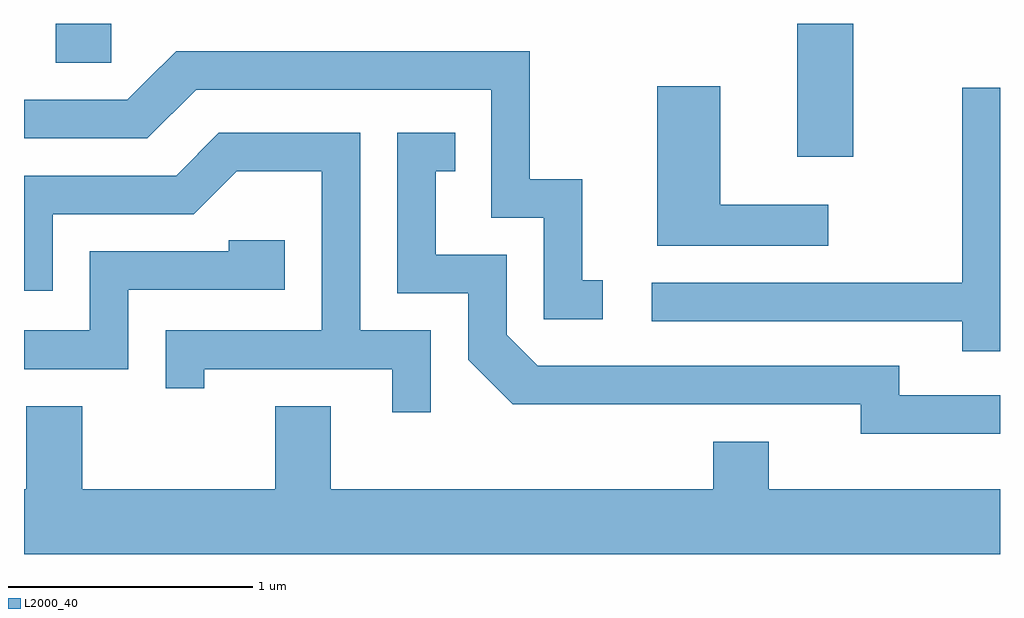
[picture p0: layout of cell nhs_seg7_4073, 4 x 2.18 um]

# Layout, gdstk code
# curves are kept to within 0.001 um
import gdstk
lib = gdstk.Library(unit=1e-6, precision=1e-09)
def R(c, l, rs):  # rectangles x0, y0, x1, y1
    for r in rs: c.add(gdstk.rectangle(r[:2], r[2:], *l))
def P(c, l, *ps):  # polygons
    for p in ps: c.add(gdstk.Polygon(p, *l))
L2000_40 = (2000, 40)

nhs_seg7_4073 = lib.new_cell('nhs_seg7_4073')
R(nhs_seg7_4073, L2000_40, [(312.781,1733.706,313.009,1734.252), (309.741,1734.091,309.969,1734.252)])
P(nhs_seg7_4073, L2000_40, [(311.983,1733.199),(311.899,1733.199),(311.899,1733.614),(311.684,1733.614),(311.684,1734.139),(310.234,1734.139),(310.034,1733.939),(309.611,1733.939),(309.611,1733.781),(310.117,1733.781),(310.317,1733.981),(311.526,1733.981),(311.526,1733.456),(311.741,1733.456),(311.741,1733.041),(311.983,1733.041)],
  [(312.908,1733.509),(312.464,1733.509),(312.464,1733.994),(312.206,1733.994),(312.206,1733.341),(312.908,1733.341)],
  [(313.611,1733.988),(313.456,1733.988),(313.456,1733.189),(312.183,1733.189),(312.183,1733.031),(313.456,1733.031),(313.456,1732.908),(313.611,1732.908)],
  [(313.611,1732.729),(313.199,1732.729),(313.199,1732.849),(311.717,1732.849),(311.589,1732.977),(311.589,1733.304),(311.299,1733.304),(311.299,1733.646),(311.378,1733.646),(311.378,1733.804),(311.141,1733.804),(311.141,1733.146),(311.431,1733.146),(311.431,1732.874),(311.614,1732.691),(313.041,1732.691),(313.041,1732.571),(313.611,1732.571)],
  [(311.279,1732.994),(310.989,1732.994),(310.989,1733.804),(310.409,1733.804),(310.234,1733.629),(309.611,1733.629),(309.611,1733.156),(309.729,1733.156),(309.729,1733.471),(310.307,1733.471),(310.482,1733.646),(310.831,1733.646),(310.831,1732.994),(310.191,1732.994),(310.191,1732.758),(310.349,1732.758),(310.349,1732.836),(311.121,1732.836),(311.121,1732.658),(311.279,1732.658)],
  [(310.039,1733.161),(310.679,1733.161),(310.679,1733.364),(310.451,1733.364),(310.451,1733.319),(309.881,1733.319),(309.881,1732.994),(309.611,1732.994),(309.611,1732.836),(310.039,1732.836)],
  [(313.611,1732.344),(312.664,1732.344),(312.664,1732.539),(312.436,1732.539),(312.436,1732.344),(310.869,1732.344),(310.869,1732.684),(310.641,1732.684),(310.641,1732.344),(309.849,1732.344),(309.849,1732.684),(309.621,1732.684),(309.621,1732.344),(309.611,1732.344),(309.611,1732.076),(313.611,1732.076)])

lib.write_gds('nhs_seg7_4073.gds')
